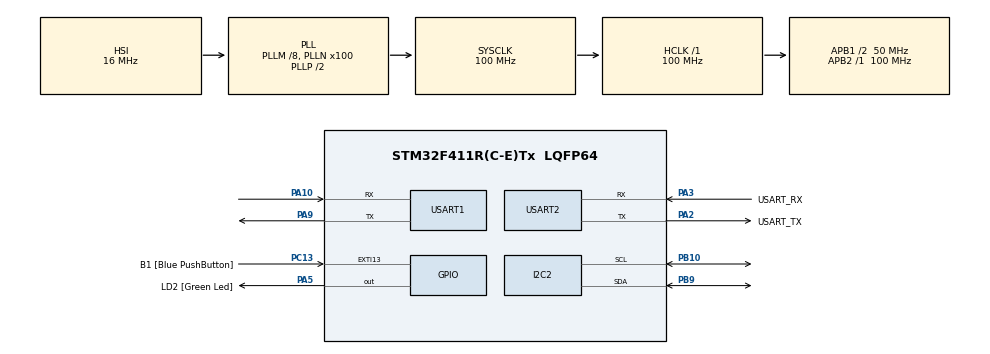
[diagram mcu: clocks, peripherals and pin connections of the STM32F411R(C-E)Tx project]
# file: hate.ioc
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Mcu.Family=STM32F4
Mcu.Name=STM32F411R(C-E)Tx
Mcu.Package=LQFP64
NVIC.PriorityGroup=NVIC_PRIORITYGROUP_0
NVIC.USART1_IRQn=true\:0\:0\:false\:false\:true\:true\:true\:true
NVIC.USART2_IRQn=true\:0\:0\:false\:false\:true\:true\:true\:true
PA10.Mode=Asynchronous
PA10.Signal=USART1_RX
PA13.GPIO_Label=TMS
PA13.Mode=Serial_Wire
PA13.Signal=SYS_JTMS-SWDIO
PA14.GPIO_Label=TCK
PA14.Mode=Serial_Wire
PA14.Signal=SYS_JTCK-SWCLK
PA2.GPIO_Label=USART_TX
PA2.Mode=Asynchronous
PA2.Signal=USART2_TX
PA3.GPIO_Label=USART_RX
PA3.Mode=Asynchronous
PA3.Signal=USART2_RX
PA5.GPIO_Label=LD2 [Green Led]
PA5.Signal=GPIO_Output
PA9.Mode=Asynchronous
PA9.Signal=USART1_TX
PB10.Mode=I2C
PB10.Signal=I2C2_SCL
PB3.GPIO_Label=SWO
PB3.Signal=SYS_JTDO-SWO
PB9.Mode=I2C
PB9.Signal=I2C2_SDA
PC13-ANTI_TAMP.GPIO_Label=B1 [Blue PushButton]
PC13-ANTI_TAMP.GPIO_ModeDefaultEXTI=GPIO_MODE_IT_FALLING
PC13-ANTI_TAMP.Signal=GPXTI13
PC14-OSC32_IN.Mode=LSE-External-Oscillator
PC14-OSC32_IN.Signal=RCC_OSC32_IN
PC15-OSC32_OUT.Mode=LSE-External-Oscillator
PC15-OSC32_OUT.Signal=RCC_OSC32_OUT
PH0\ -\ OSC_IN.Mode=HSE-External-Clock-Source
PH0\ -\ OSC_IN.Signal=RCC_OSC_IN
PH1\ -\ OSC_OUT.Mode=HSE-External-Clock-Source
PH1\ -\ OSC_OUT.Signal=RCC_OSC_OUT
ProjectManager.HeapSize=0x800
ProjectManager.StackSize=0x800
ProjectManager.TargetToolchain=CMake
RCC.48MHZClocksFreq_Value=28571428.57142857
RCC.AHBFreq_Value=100000000
RCC.APB1CLKDivider=RCC_HCLK_DIV2
RCC.APB1Freq_Value=50000000
RCC.APB1TimFreq_Value=100000000
RCC.APB2Freq_Value=100000000
RCC.APB2TimFreq_Value=100000000
RCC.CortexFreq_Value=100000000
RCC.FLatency-AdvancedSettings=FLASH_LATENCY_3
RCC.HCLKFreq_Value=100000000
RCC.HSE_VALUE=8000000
RCC.HSI_VALUE=16000000
RCC.PLLM=8
RCC.PLLMUL=RCC_PLL_MUL9
RCC.PLLN=100
RCC.PLLQ=7
RCC.RCC_PLLsource_Clock_Source_FROM_HSE=RCC_HSE_PREDIV_DIV2
RCC.SYSCLKFreq_VALUE=100000000
RCC.SYSCLKSource=RCC_SYSCLKSOURCE_PLLCLK
RCC.SYSCLKSourceVirtual=RCC_SYSCLKSOURCE_PLLCLK
RCC.VCOOutputFreq_Value=200000000
STMicroelectronics.X-CUBE-AI.10.1.0.ActivationBufferSizeList=3700
STMicroelectronics.X-CUBE-AI.10.1.0.ActivationBuffers=pool0
STMicroelectronics.X-CUBE-AI.10.1.0.ActivationNames=pool0
STMicroelectronics.X-CUBE-AI.10.1.0.ActivationSizes=AI_NETWORK_DATA_ACTIVATION_1_SIZE
STMicroelectronics.X-CUBE-AI.10.1.0.ApplicationCcDeviceJjApplication=ApplicationTemplate
STMicroelectronics.X-CUBE-AI.10.1.0.HeapSize=0x800
STMicroelectronics.X-CUBE-AI.10.1.0.InternalRamActivationBufferMaxSize=AI_NETWORK_DATA_ACTIVATIONS_SIZE
STMicroelectronics.X-CUBE-AI.10.1.0.LatestDirectoryUsed-a556522875ab976a97a95ef47933790a4d4907dc1246bddacab95feb67d43f41=C\:\\Users\\KCCISTC\\Documents
STMicroelectronics.X-CUBE-AI.10.1.0.MaximumNumberOfInputLayer=1
STMicroelectronics.X-CUBE-AI.10.1.0.MaximumNumberOfOutputLayer=1
STMicroelectronics.X-CUBE-AI.10.1.0.MaximumSizeOfInputLayer=1
STMicroelectronics.X-CUBE-AI.10.1.0.MaximumSizeOfOutputLayer=1
STMicroelectronics.X-CUBE-AI.10.1.0.ModelActualCompression-a556522875ab976a97a95ef47933790a4d4907dc1246bddacab95feb67d43f41=0.0
STMicroelectronics.X-CUBE-AI.10.1.0.ModelCompression-a556522875ab976a97a95ef47933790a4d4907dc1246bddacab95feb67d43f41=None
STMicroelectronics.X-CUBE-AI.10.1.0.ModelFlashOccupation-a556522875ab976a97a95ef47933790a4d4907dc1246bddacab95feb67d43f41=38237
STMicroelectronics.X-CUBE-AI.10.1.0.ModelHashList=a556522875ab976a97a95ef47933790a4d4907dc1246bddacab95feb67d43f41
STMicroelectronics.X-CUBE-AI.10.1.0.ModelKind-a556522875ab976a97a95ef47933790a4d4907dc1246bddacab95feb67d43f41=TFLITE
STMicroelectronics.X-CUBE-AI.10.1.0.ModelMacc-a556522875ab976a97a95ef47933790a4d4907dc1246bddacab95feb67d43f41=23296
STMicroelectronics.X-CUBE-AI.10.1.0.ModelName-a556522875ab976a97a95ef47933790a4d4907dc1246bddacab95feb67d43f41=network
STMicroelectronics.X-CUBE-AI.10.1.0.ModelNameList=network
STMicroelectronics.X-CUBE-AI.10.1.0.ModelRamOccupation-a556522875ab976a97a95ef47933790a4d4907dc1246bddacab95feb67d43f41=3700
STMicroelectronics.X-CUBE-AI.10.1.0.ModelStructureFile-a556522875ab976a97a95ef47933790a4d4907dc1246bddacab95feb67d43f41=C\:\\Users\\KCCISTC\\Documents\\model.tflite
STMicroelectronics.X-CUBE-AI.10.1.0.ModelType-a556522875ab976a97a95ef47933790a4d4907dc1246bddacab95feb67d43f41=STM32Cube.AI MCU runtime
STMicroelectronics.X-CUBE-AI.10.1.0.ReadyForCodeGeneration=true
STMicroelectronics.X-CUBE-AI.10.1.0.StackSize=0x800
STMicroelectronics.X-CUBE-AI.10.1.0.WorkingBufferStartAddrList=0xFFFFFFFF
STMicroelectronics.X-CUBE-AI.10.1.0.XAaCUBEAaAICcArtificialOoIntelligenceJjCore=true
STMicroelectronics.X-CUBE-AI.10.1.0.copyWeightToRam=false
STMicroelectronics.X-CUBE-AI.10.1.0.copyWeightToRam-a556522875ab976a97a95ef47933790a4d4907dc1246bddacab95feb67d43f41=false
STMicroelectronics.X-CUBE-AI.10.1.0.customLayerConfigEnabled=false
STMicroelectronics.X-CUBE-AI.10.1.0.customLayerConfigEnabled-a556522875ab976a97a95ef47933790a4d4907dc1246bddacab95feb67d43f41=false
STMicroelectronics.X-CUBE-AI.10.1.0.noOnnxIoTranspose=false
STMicroelectronics.X-CUBE-AI.10.1.0.noOnnxIoTranspose-a556522875ab976a97a95ef47933790a4d4907dc1246bddacab95feb67d43f41=false
STMicroelectronics.X-CUBE-AI.10.1.0.useInputAllocation=true
STMicroelectronics.X-CUBE-AI.10.1.0.useInputAllocation-a556522875ab976a97a95ef47933790a4d4907dc1246bddacab95feb67d43f41=true
STMicroelectronics.X-CUBE-AI.10.1.0.useOutputAllocation=true
STMicroelectronics.X-CUBE-AI.10.1.0.useOutputAllocation-a556522875ab976a97a95ef47933790a4d4907dc1246bddacab95feb67d43f41=true
USART1.VirtualMode=VM_ASYNC
USART2.VirtualMode=VM_ASYNC
VP_STMicroelectronics.X-CUBE-AI_VS_ArtificialOoIntelligenceJjXAaCUBEAaAI_10.1.0.Mode=ArtificialOoIntelligenceJjXAaCUBEAaAI
VP_STMicroelectronics.X-CUBE-AI_VS_DeviceJjApplication_10.1.0.Mode=DeviceJjApplication
board=NUCLEO-F411RE

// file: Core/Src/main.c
/* USER CODE BEGIN Header */
/**
  ******************************************************************************
  * @file           : main.c
  * @brief          : Main program body
  ******************************************************************************
  * @attention
  *
  * Copyright (c) 2025 STMicroelectronics.
  * All rights reserved.
  *
  * This software is licensed under terms that can be found in the LICENSE file
  * in the root directory of this software component.
  * If no LICENSE file comes with this software, it is provided AS-IS.
  *
  ******************************************************************************
  */
/* USER CODE END Header */
#include "main.h"
#include "app_x-cube-ai.h"

/* USER CODE BEGIN Includes */
#include "model_data.h"
#include "network.h"
#include <stdio.h>
#include <string.h>
#include <stdlib.h>
/* USER CODE END Includes */

I2C_HandleTypeDef hi2c2;

UART_HandleTypeDef huart1;
UART_HandleTypeDef huart2;

/* USER CODE BEGIN PV */
// ESP01 통신용 버퍼
#define ESP_BUFFER_SIZE 4096
char esp_rx_buffer[ESP_BUFFER_SIZE];
char esp_tx_buffer[256];
volatile uint16_t esp_rx_index = 0;
volatile uint8_t esp_response_ready = 0;
volatile uint8_t esp_rx_char;

// WiFi 스캔 결과 저장용
typedef struct {
    char bssid[18];  // MAC 주소 형식: "xx:xx:xx:xx:xx:xx"
    int rssi;
} wifi_ap_t;

#define MAX_AP_COUNT 25
wifi_ap_t scanned_aps[MAX_AP_COUNT];
uint8_t ap_count = 0;

// LCD I2C 주소 및 타이밍 변수
#define LCD_ADDR 0x27 << 1  // I2C LCD 주소 (일반적으로 0x27)
uint32_t last_scan_time = 0;
#define SCAN_INTERVAL_MS 10000  // 10초마다 스캔

// 현재 추론 결과 저장
int current_zone = -1;
uint8_t zone_updated = 0;
/* USER CODE END PV */

void SystemClock_Config(void);
static void MX_GPIO_Init(void);
static void MX_USART2_UART_Init(void);
static void MX_USART1_UART_Init(void);
static void MX_I2C2_Init(void);
/* USER CODE BEGIN PFP */
// ESP01 WiFi 관련 함수들
void esp01_init(void);
void esp01_send_command(const char* cmd);
uint8_t esp01_wait_response(const char* expected, uint32_t timeout_ms);
void esp01_scan_wifi(void);
void parse_wifi_scan_result(const char* response);
void esp01_start_receive(void);
uint8_t esp01_check_response(const char* expected);

// WiFi 스캔 결과를 AI 모델로 처리
void estimate_zone_from_wifi_scan(void);
void create_rssi_feature_vector(float* feature_vector);
int find_bssid_index(const char* bssid);

// I2C LCD 관련 함수들
void lcd_init(void);
void lcd_clear(void);
void lcd_set_cursor(uint8_t row, uint8_t col);
void lcd_print(const char* str);
void lcd_display_zone_result(int zone, int ap_count);
void lcd_send_cmd(uint8_t cmd);
void lcd_send_data(uint8_t data);
void lcd_send_nibble(uint8_t nibble);
/* USER CODE END PFP */

int main(void)
{

  /* MCU Configuration--------------------------------------------------------*/

  /* Reset of all peripherals, Initializes the Flash interface and the Systick. */
  HAL_Init();

  /* Configure the system clock */
  SystemClock_Config();

  /* Initialize all configured peripherals */
  MX_GPIO_Init();
  MX_USART2_UART_Init();
  MX_USART1_UART_Init();
  MX_I2C2_Init();
  MX_X_CUBE_AI_Init();
  /* USER CODE BEGIN 2 */

  // 시스템 초기화
  printf("System Initializing...\r\n");

  // LCD 초기화
  HAL_Delay(1000);
  lcd_init();
  lcd_clear();
  lcd_set_cursor(0, 0);
  lcd_print("AI Zone System");
  lcd_set_cursor(1, 0);
  lcd_print("Starting...");

  // ESP01 초기화
  esp01_init();
  esp01_start_receive();

  // 초기화 완료 표시
  lcd_clear();
  lcd_set_cursor(0, 0);
  lcd_print("System Ready");
  lcd_set_cursor(1, 0);
  lcd_print("Scanning...");

  printf("System Ready\r\n");

  /* USER CODE END 2 */

  /* Infinite loop */
  while (1)
  {

  MX_X_CUBE_AI_Process();
    /* USER CODE BEGIN 3 */
  // 10초마다 WiFi 스캔 및 AI 추론 실행
    uint32_t current_time = HAL_GetTick();
    if (current_time - last_scan_time >= SCAN_INTERVAL_MS) {

      // LCD에 스캔 중 표시
      lcd_clear();
      lcd_set_cursor(0, 0);
      lcd_print("Scanning WiFi...");

      // WiFi 스캔 및 AI 추론 실행
      esp01_scan_wifi();

      last_scan_time = current_time;
    }

    // LED 토글 (시스템 동작 표시)
    HAL_GPIO_TogglePin(LD2_GPIO_Port, LD2_Pin);
    HAL_Delay(100);
  /* USER CODE END 3 */

  }
}

void SystemClock_Config(void)
{
  RCC_OscInitTypeDef RCC_OscInitStruct = {0};
  RCC_ClkInitTypeDef RCC_ClkInitStruct = {0};

  /** Configure the main internal regulator output voltage
  */
  __HAL_RCC_PWR_CLK_ENABLE();
  __HAL_PWR_VOLTAGESCALING_CONFIG(PWR_REGULATOR_VOLTAGE_SCALE1);

  /** Initializes the RCC Oscillators according to the specified parameters
  * in the RCC_OscInitTypeDef structure.
  */
  RCC_OscInitStruct.OscillatorType = RCC_OSCILLATORTYPE_HSI;
  RCC_OscInitStruct.HSIState = RCC_HSI_ON;
  RCC_OscInitStruct.HSICalibrationValue = RCC_HSICALIBRATION_DEFAULT;
  RCC_OscInitStruct.PLL.PLLState = RCC_PLL_ON;
  RCC_OscInitStruct.PLL.PLLSource = RCC_PLLSOURCE_HSI;
  RCC_OscInitStruct.PLL.PLLM = 8;
  RCC_OscInitStruct.PLL.PLLN = 100;
  RCC_OscInitStruct.PLL.PLLP = RCC_PLLP_DIV2;
  RCC_OscInitStruct.PLL.PLLQ = 7;
  if (HAL_RCC_OscConfig(&RCC_OscInitStruct) != HAL_OK)
  {
    Error_Handler();
  }

  /** Initializes the CPU, AHB and APB buses clocks
  */
  RCC_ClkInitStruct.ClockType = RCC_CLOCKTYPE_HCLK|RCC_CLOCKTYPE_SYSCLK
                              |RCC_CLOCKTYPE_PCLK1|RCC_CLOCKTYPE_PCLK2;
  RCC_ClkInitStruct.SYSCLKSource = RCC_SYSCLKSOURCE_PLLCLK;
  RCC_ClkInitStruct.AHBCLKDivider = RCC_SYSCLK_DIV1;
  RCC_ClkInitStruct.APB1CLKDivider = RCC_HCLK_DIV2;
  RCC_ClkInitStruct.APB2CLKDivider = RCC_HCLK_DIV1;

  if (HAL_RCC_ClockConfig(&RCC_ClkInitStruct, FLASH_LATENCY_3) != HAL_OK)
  {
    Error_Handler();
  }
}

static void MX_I2C2_Init(void)
{

  hi2c2.Instance = I2C2;
  hi2c2.Init.ClockSpeed = 100000;
  hi2c2.Init.DutyCycle = I2C_DUTYCYCLE_2;
  hi2c2.Init.OwnAddress1 = 0;
  hi2c2.Init.AddressingMode = I2C_ADDRESSINGMODE_7BIT;
  hi2c2.Init.DualAddressMode = I2C_DUALADDRESS_DISABLE;
  hi2c2.Init.OwnAddress2 = 0;
  hi2c2.Init.GeneralCallMode = I2C_GENERALCALL_DISABLE;
  hi2c2.Init.NoStretchMode = I2C_NOSTRETCH_DISABLE;
  if (HAL_I2C_Init(&hi2c2) != HAL_OK)
  {
    Error_Handler();
  }

}

static void MX_USART1_UART_Init(void)
{

  huart1.Instance = USART1;
  huart1.Init.BaudRate = 115200;
  huart1.Init.WordLength = UART_WORDLENGTH_8B;
  huart1.Init.StopBits = UART_STOPBITS_1;
  huart1.Init.Parity = UART_PARITY_NONE;
  huart1.Init.Mode = UART_MODE_TX_RX;
  huart1.Init.HwFlowCtl = UART_HWCONTROL_NONE;
  huart1.Init.OverSampling = UART_OVERSAMPLING_16;
  if (HAL_UART_Init(&huart1) != HAL_OK)
  {
    Error_Handler();
  }

}

static void MX_USART2_UART_Init(void)
{

  huart2.Instance = USART2;
  huart2.Init.BaudRate = 115200;
  huart2.Init.WordLength = UART_WORDLENGTH_8B;
  huart2.Init.StopBits = UART_STOPBITS_1;
  huart2.Init.Parity = UART_PARITY_NONE;
  huart2.Init.Mode = UART_MODE_TX_RX;
  huart2.Init.HwFlowCtl = UART_HWCONTROL_NONE;
  huart2.Init.OverSampling = UART_OVERSAMPLING_16;
  if (HAL_UART_Init(&huart2) != HAL_OK)
  {
    Error_Handler();
  }

}

static void MX_GPIO_Init(void)
{
  GPIO_InitTypeDef GPIO_InitStruct = {0};

  /* GPIO Ports Clock Enable */
  __HAL_RCC_GPIOC_CLK_ENABLE();
  __HAL_RCC_GPIOH_CLK_ENABLE();
  __HAL_RCC_GPIOA_CLK_ENABLE();
  __HAL_RCC_GPIOB_CLK_ENABLE();

  /*Configure GPIO pin Output Level */
  HAL_GPIO_WritePin(LD2_GPIO_Port, LD2_Pin, GPIO_PIN_RESET);

  /*Configure GPIO pin : B1_Pin */
  GPIO_InitStruct.Pin = B1_Pin;
  GPIO_InitStruct.Mode = GPIO_MODE_IT_FALLING;
  GPIO_InitStruct.Pull = GPIO_NOPULL;
  HAL_GPIO_Init(B1_GPIO_Port, &GPIO_InitStruct);

  /*Configure GPIO pin : LD2_Pin */
  GPIO_InitStruct.Pin = LD2_Pin;
  GPIO_InitStruct.Mode = GPIO_MODE_OUTPUT_PP;
  GPIO_InitStruct.Pull = GPIO_NOPULL;
  GPIO_InitStruct.Speed = GPIO_SPEED_FREQ_LOW;
  HAL_GPIO_Init(LD2_GPIO_Port, &GPIO_InitStruct);

}

/* USER CODE BEGIN 4 */
// UART를 통한 printf 리타겟팅
int __io_putchar(int ch)
{
  HAL_UART_Transmit(&huart2, (uint8_t *)&ch, 1, HAL_MAX_DELAY);
  return ch;
}

// I2C LCD 함수들 (16x2 LCD with PCF8574 I2C backpack)
void lcd_send_nibble(uint8_t nibble)
{
  uint8_t data = nibble | 0x08; // Enable backlight
  HAL_I2C_Master_Transmit(&hi2c2, LCD_ADDR, &data, 1, HAL_MAX_DELAY);

  data |= 0x04; // Set Enable bit
  HAL_I2C_Master_Transmit(&hi2c2, LCD_ADDR, &data, 1, HAL_MAX_DELAY);
  HAL_Delay(1);

  data &= ~0x04; // Clear Enable bit
  HAL_I2C_Master_Transmit(&hi2c2, LCD_ADDR, &data, 1, HAL_MAX_DELAY);
  HAL_Delay(1);
}

void lcd_send_cmd(uint8_t cmd)
{
  lcd_send_nibble(cmd & 0xF0);        // Send upper nibble
  lcd_send_nibble((cmd << 4) & 0xF0); // Send lower nibble
  HAL_Delay(2);
}

void lcd_send_data(uint8_t data)
{
  lcd_send_nibble((data & 0xF0) | 0x01);        // Send upper nibble with RS=1
  lcd_send_nibble(((data << 4) & 0xF0) | 0x01); // Send lower nibble with RS=1
  HAL_Delay(2);
}

void lcd_init(void)
{
  HAL_Delay(50); // Wait for LCD to power up

  // Initialize LCD in 4-bit mode
  lcd_send_nibble(0x30);
  HAL_Delay(5);
  lcd_send_nibble(0x30);
  HAL_Delay(1);
  lcd_send_nibble(0x30);
  HAL_Delay(1);
  lcd_send_nibble(0x20); // Set 4-bit mode
  HAL_Delay(1);

  // Configure LCD
  lcd_send_cmd(0x28); // 4-bit, 2 lines, 5x8 font
  lcd_send_cmd(0x0C); // Display on, cursor off
  lcd_send_cmd(0x06); // Entry mode: increment cursor
  lcd_send_cmd(0x01); // Clear display
  HAL_Delay(2);
}

void lcd_clear(void)
{
  lcd_send_cmd(0x01);
  HAL_Delay(2);
}

void lcd_set_cursor(uint8_t row, uint8_t col)
{
  uint8_t address = (row == 0) ? 0x80 : 0xC0;
  address += col;
  lcd_send_cmd(address);
}

void lcd_print(const char* str)
{
  while (*str) {
    lcd_send_data(*str++);
  }
}

void lcd_display_zone_result(int zone, int ap_count)
{
  char line1[17], line2[17];

  // 첫 번째 줄: Zone 정보
  snprintf(line1, sizeof(line1), "Zone: %d", zone);

  // 두 번째 줄: AP 개수와 시간
  uint32_t seconds = HAL_GetTick() / 1000;
  uint32_t minutes = seconds / 60;
  seconds = seconds % 60;
  snprintf(line2, sizeof(line2), "APs:%d %02ld:%02ld", ap_count, minutes, seconds);

  lcd_clear();
  lcd_set_cursor(0, 0);
  lcd_print(line1);
  lcd_set_cursor(1, 0);
  lcd_print(line2);
}

// ESP01 초기화 함수
void esp01_init(void)
{
  printf("ESP01 Initializing...\r\n");

  // ESP01 리셋
  esp01_send_command("AT+RST\r\n");
  HAL_Delay(3000);

  // WiFi 모드 설정 (Station 모드)
  esp01_send_command("AT+CWMODE=1\r\n");
  HAL_Delay(1000);

  printf("ESP01 Ready\r\n");
}

// ESP01에 AT 명령 전송
void esp01_send_command(const char* cmd)
{
  // 수신 버퍼 초기화
  memset(esp_rx_buffer, 0, ESP_BUFFER_SIZE);
  esp_rx_index = 0;
  esp_response_ready = 0;

  // 명령 전송
  HAL_UART_Transmit(&huart1, (uint8_t*)cmd, strlen(cmd), 1000);
}

// UART 인터럽트 수신 시작
void esp01_start_receive(void)
{
  HAL_UART_Receive_IT(&huart1, (uint8_t*)&esp_rx_char, 1);
}

// 응답 확인 (논블로킹)
uint8_t esp01_check_response(const char* expected)
{
  if (strstr(esp_rx_buffer, expected) != NULL) {
    printf("Response found: %s\r\n", expected);
    return 1;
  }
  return 0;
}

// ESP01 응답 대기 (개선된 버전)
uint8_t esp01_wait_response(const char* expected, uint32_t timeout_ms)
{
  uint32_t start_time = HAL_GetTick();

  while ((HAL_GetTick() - start_time) < timeout_ms) {
    if (esp01_check_response(expected)) {
      return 1;
    }
    HAL_Delay(10); // CPU 과부하 방지
  }

  printf("Response timeout for: %s\r\n", expected);
  if (esp_rx_index > 0) {
    printf("Received buffer: %s\r\n", esp_rx_buffer);
  }
  return 0;
}

// WiFi 스캔 실행
void esp01_scan_wifi(void)
{
  printf("WiFi Scanning...\r\n");

  // 버퍼 초기화
  memset(esp_rx_buffer, 0, ESP_BUFFER_SIZE);
  esp_rx_index = 0;
  esp_response_ready = 0;

  // WiFi 스캔 명령 전송
  esp01_send_command("AT+CWLAP\r\n");

  // 스캔 결과 대기 (최대 15초)
  uint32_t start_time = HAL_GetTick();
  uint8_t scan_completed = 0;

  while ((HAL_GetTick() - start_time) < 15000 && !scan_completed) {
    if (strstr(esp_rx_buffer, "OK") != NULL ||
        strstr(esp_rx_buffer, "ERROR") != NULL) {
      scan_completed = 1;
      parse_wifi_scan_result(esp_rx_buffer);
      estimate_zone_from_wifi_scan();
    }
    HAL_Delay(100);
  }

  if (!scan_completed) {
    printf("WiFi scan timeout\r\n");
  }
}

// WiFi 스캔 결과 파싱
void parse_wifi_scan_result(const char* response)
{
  ap_count = 0;

  // 응답을 줄 단위로 분석
  char temp_buffer[ESP_BUFFER_SIZE];
  strncpy(temp_buffer, response, ESP_BUFFER_SIZE - 1);
  temp_buffer[ESP_BUFFER_SIZE - 1] = '\0';

  char* line = strtok(temp_buffer, "\r\n");
  while (line != NULL && ap_count < MAX_AP_COUNT) {
    if (strstr(line, "+CWLAP:") != NULL) {
      // +CWLAP:(3,"KCCI_STC_S",-71,"04:bd:88:f3:70:a0",1,-24,0) 형식 파싱
      //printf("Parsing line: %s\r\n", line);

      // BSSID 추출 (두 번째 따옴표 쌍)
      char* pos = line;
      int quote_count = 0;
      char* bssid_start = NULL;
      char* bssid_end = NULL;

      while (*pos) {
        if (*pos == '"') {
          quote_count++;
          if (quote_count == 3) { // 두 번째 따옴표 쌍의 시작 (BSSID)
            bssid_start = pos + 1;
          } else if (quote_count == 4) { // 두 번째 따옴표 쌍의 끝
            bssid_end = pos;
            break;
          }
        }
        pos++;
      }

      // RSSI 추출 (SSID 다음의 콤마 후 숫자)
      char* rssi_start = NULL;
      char* rssi_end = NULL;
      pos = line;
      int comma_count = 0;

      while (*pos) {
        if (*pos == ',') {
          comma_count++;
          if (comma_count == 2) { // 두 번째 콤마 후가 RSSI
            rssi_start = pos + 1;
            // RSSI 끝 찾기 (다음 콤마까지)
            char* temp_pos = rssi_start;
            while (*temp_pos && *temp_pos != ',') {
              temp_pos++;
            }
            rssi_end = temp_pos;
            break;
          }
        }
        pos++;
      }

      // BSSID와 RSSI가 모두 추출되었는지 확인
      if (bssid_start && bssid_end && (bssid_end - bssid_start) == 17 &&
          rssi_start && rssi_end) {

        // BSSID 저장
        strncpy(scanned_aps[ap_count].bssid, bssid_start, 17);
        scanned_aps[ap_count].bssid[17] = '\0';

        // RSSI 저장
        char rssi_str[10];
        int rssi_len = rssi_end - rssi_start;
        if (rssi_len < 10 && rssi_len > 0) {
          strncpy(rssi_str, rssi_start, rssi_len);
          rssi_str[rssi_len] = '\0';
          scanned_aps[ap_count].rssi = atoi(rssi_str);
        } else {
          scanned_aps[ap_count].rssi = -100; // 기본값
        }

        ap_count++;
      }
    }
    line = strtok(NULL, "\r\n");
  }

  printf("Found %d APs\r\n", ap_count);
}

// WiFi 스캔 결과를 AI 모델로 처리하여 zone 추정
void estimate_zone_from_wifi_scan(void)
{
  if (ap_count == 0) {
    printf("No WiFi APs detected\r\n");

    // LCD에 에러 표시
    lcd_clear();
    lcd_set_cursor(0, 0);
    lcd_print("No WiFi APs");
    lcd_set_cursor(1, 0);
    lcd_print("Zone: Unknown");

    current_zone = -1;
    return;
  }

  printf("Processing %d APs...\r\n", ap_count);

  // RSSI 특성 벡터 생성 (216차원)
  static float rssi_features[BSSID_COUNT];
  create_rssi_feature_vector(rssi_features);

  // 실제 AI 모델로 zone 예측
  int predicted_zone = predict_zone_with_ai(rssi_features);

  if (predicted_zone >= 0) {
    // 결과를 LCD에 표시
    lcd_display_zone_result(predicted_zone, ap_count);

    current_zone = predicted_zone;
    zone_updated = 1;
  } else {
    printf("Zone estimation failed\r\n");

    // LCD에 에러 표시
    lcd_clear();
    lcd_set_cursor(0, 0);
    lcd_print("AI Error");
    lcd_set_cursor(1, 0);
    lcd_print("Zone: Failed");

    current_zone = -1;
  }
}

// BSSID 인덱스 찾기
int find_bssid_index(const char* bssid)
{
  for (int i = 0; i < BSSID_COUNT; i++) {
    if (strcmp(bssid_order[i], bssid) == 0) {
      return i;
    }
  }
  return -1; // 찾지 못함
}

// RSSI 특성 벡터 생성
void create_rssi_feature_vector(float* feature_vector)
{
  // 모든 BSSID에 대해 기본값 -100 (감지되지 않은 경우)
  for (int i = 0; i < BSSID_COUNT; i++) {
    feature_vector[i] = -100.0f;
  }

  // 스캔된 AP들의 RSSI 값 설정
  int known_ap_count = 0;

  for (int i = 0; i < ap_count; i++) {
    int bssid_idx = find_bssid_index(scanned_aps[i].bssid);
    if (bssid_idx >= 0) {
      feature_vector[bssid_idx] = (float)scanned_aps[i].rssi;
      known_ap_count++;
    }
  }

  printf("Mapped %d/%d APs\r\n", known_ap_count, ap_count);
}

// UART 인터럽트 콜백 함수
void HAL_UART_RxCpltCallback(UART_HandleTypeDef *huart)
{
  if (huart->Instance == USART1) {
    // ESP01 데이터 수신
    if (esp_rx_index < ESP_BUFFER_SIZE - 1) {
      esp_rx_buffer[esp_rx_index++] = esp_rx_char;
      esp_rx_buffer[esp_rx_index] = '\0';
    }

    // 다음 바이트 수신 대기
    HAL_UART_Receive_IT(&huart1, (uint8_t*)&esp_rx_char, 1);
  }
}
/* USER CODE END 4 */

void Error_Handler(void)
{
  __disable_irq();
  while (1)
  {
  }
}
